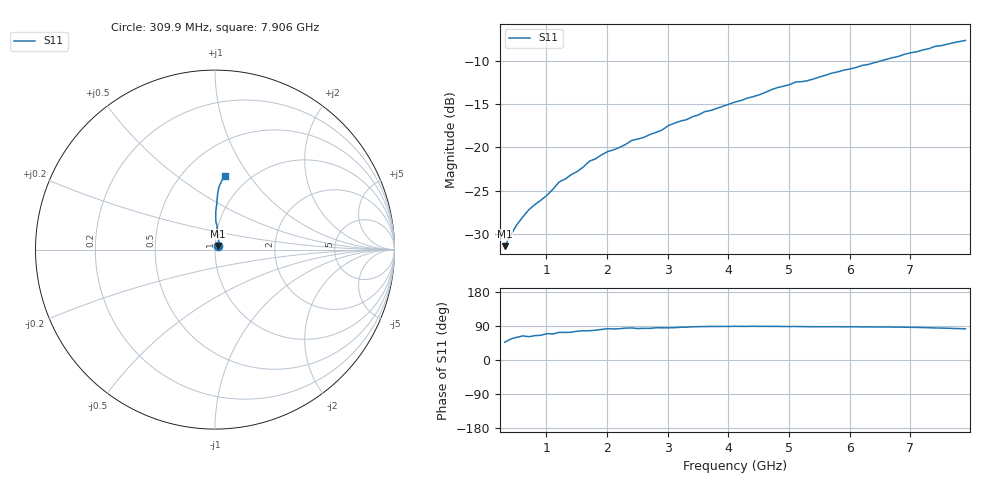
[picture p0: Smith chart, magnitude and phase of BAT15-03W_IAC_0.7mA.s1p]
! Infineon Technologies  Discrete & RF Semiconductors
! BAT15-03W-E6327
! IAC = 0.7 mA
! One-Port S-Parameters
# Hz  S  MA  R  50
!f  S11
!Hz  Mag  Ang
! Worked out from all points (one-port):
!   77 points, 309.9 MHz to 7.906 GHz, reference 50 ohm
!   lowest |S11| = -31.4 dB at 309.9 MHz (marker M1), VSWR 1.06, Z = 51.8 + j2.04 ohm
!   |S11| at or under -10 dB: start of sweep to 6.521 GHz
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3.0985e8  0.0269 46.8
5.0975e8  0.03569 59.8
7.0965e8  0.04365 61.5
1.0095e9  0.05295 69.5
1.2094e9  0.06314 72.9
1.30935e9  0.06567 72.8
1.50925e9  0.07264 76.0
1.70915e9  0.08328 77.2
1.8091e9  0.08585 78.6
2.009e9  0.09457 82.7
2.2089e9  0.1001 82.7
2.4088e9  0.1098 84.6
2.6087e9  0.1143 83.6
2.90855e9  0.1261 84.9
3.0085e9  0.1334 84.9
3.2084e9  0.1418 86.4
3.30835e9  0.1445 86.7
3.6082e9  0.1608 88.3
4.10795e9  0.1827 88.9
4.50775e9  0.2011 88.7
4.70765e9  0.2151 88.7
5.10745e9  0.2384 88.4
5.30735e9  0.2429 87.9
5.70715e9  0.2684 87.8
6.007e9  0.2836 87.6
7.0065e9  0.3516 86.2
7.4063e9  0.3827 84.6
7.90605e9  0.4141 82.3
